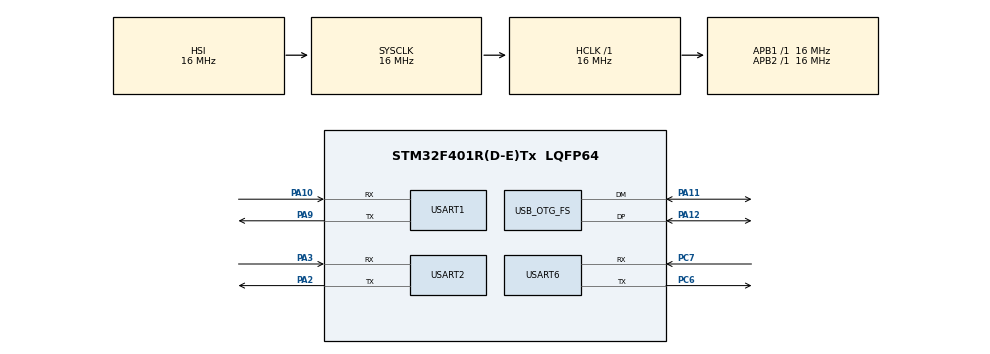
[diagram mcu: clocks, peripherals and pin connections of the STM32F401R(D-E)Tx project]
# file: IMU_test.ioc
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Dma.Request0=USART6_RX
Dma.Request1=USART6_TX
Dma.Request2=USART2_RX
Dma.Request3=USART2_TX
Dma.Request4=USART1_RX
Dma.Request5=USART1_TX
Dma.USART1_RX.4.Direction=DMA_PERIPH_TO_MEMORY
Dma.USART1_RX.4.FIFOMode=DMA_FIFOMODE_DISABLE
Dma.USART1_RX.4.Instance=DMA2_Stream5
Dma.USART1_RX.4.MemDataAlignment=DMA_MDATAALIGN_BYTE
Dma.USART1_RX.4.MemInc=DMA_MINC_ENABLE
Dma.USART1_RX.4.Mode=DMA_CIRCULAR
Dma.USART1_RX.4.PeriphDataAlignment=DMA_PDATAALIGN_BYTE
Dma.USART1_RX.4.PeriphInc=DMA_PINC_DISABLE
Dma.USART1_RX.4.Priority=DMA_PRIORITY_LOW
Dma.USART1_TX.5.Direction=DMA_MEMORY_TO_PERIPH
Dma.USART1_TX.5.FIFOMode=DMA_FIFOMODE_DISABLE
Dma.USART1_TX.5.Instance=DMA2_Stream7
Dma.USART1_TX.5.MemDataAlignment=DMA_MDATAALIGN_BYTE
Dma.USART1_TX.5.MemInc=DMA_MINC_ENABLE
Dma.USART1_TX.5.Mode=DMA_CIRCULAR
Dma.USART1_TX.5.PeriphDataAlignment=DMA_PDATAALIGN_BYTE
Dma.USART1_TX.5.PeriphInc=DMA_PINC_DISABLE
Dma.USART1_TX.5.Priority=DMA_PRIORITY_LOW
Dma.USART2_RX.2.Direction=DMA_PERIPH_TO_MEMORY
Dma.USART2_RX.2.FIFOMode=DMA_FIFOMODE_DISABLE
Dma.USART2_RX.2.Instance=DMA1_Stream5
Dma.USART2_RX.2.MemDataAlignment=DMA_MDATAALIGN_BYTE
Dma.USART2_RX.2.MemInc=DMA_MINC_ENABLE
Dma.USART2_RX.2.Mode=DMA_CIRCULAR
Dma.USART2_RX.2.PeriphDataAlignment=DMA_PDATAALIGN_BYTE
Dma.USART2_RX.2.PeriphInc=DMA_PINC_DISABLE
Dma.USART2_RX.2.Priority=DMA_PRIORITY_LOW
Dma.USART2_TX.3.Direction=DMA_MEMORY_TO_PERIPH
Dma.USART2_TX.3.FIFOMode=DMA_FIFOMODE_DISABLE
Dma.USART2_TX.3.Instance=DMA1_Stream6
Dma.USART2_TX.3.MemDataAlignment=DMA_MDATAALIGN_BYTE
Dma.USART2_TX.3.MemInc=DMA_MINC_ENABLE
Dma.USART2_TX.3.Mode=DMA_CIRCULAR
Dma.USART2_TX.3.PeriphDataAlignment=DMA_PDATAALIGN_BYTE
Dma.USART2_TX.3.PeriphInc=DMA_PINC_DISABLE
Dma.USART2_TX.3.Priority=DMA_PRIORITY_LOW
Dma.USART6_RX.0.Direction=DMA_PERIPH_TO_MEMORY
Dma.USART6_RX.0.FIFOMode=DMA_FIFOMODE_DISABLE
Dma.USART6_RX.0.Instance=DMA2_Stream2
Dma.USART6_RX.0.MemDataAlignment=DMA_MDATAALIGN_BYTE
Dma.USART6_RX.0.MemInc=DMA_MINC_ENABLE
Dma.USART6_RX.0.Mode=DMA_CIRCULAR
Dma.USART6_RX.0.PeriphDataAlignment=DMA_PDATAALIGN_BYTE
Dma.USART6_RX.0.PeriphInc=DMA_PINC_DISABLE
Dma.USART6_RX.0.Priority=DMA_PRIORITY_LOW
Dma.USART6_TX.1.Direction=DMA_MEMORY_TO_PERIPH
Dma.USART6_TX.1.FIFOMode=DMA_FIFOMODE_DISABLE
Dma.USART6_TX.1.Instance=DMA2_Stream6
Dma.USART6_TX.1.MemDataAlignment=DMA_MDATAALIGN_BYTE
Dma.USART6_TX.1.MemInc=DMA_MINC_ENABLE
Dma.USART6_TX.1.Mode=DMA_CIRCULAR
Dma.USART6_TX.1.PeriphDataAlignment=DMA_PDATAALIGN_BYTE
Dma.USART6_TX.1.PeriphInc=DMA_PINC_DISABLE
Dma.USART6_TX.1.Priority=DMA_PRIORITY_LOW
Mcu.Family=STM32F4
Mcu.Name=STM32F401R(D-E)Tx
Mcu.Package=LQFP64
NVIC.DMA1_Stream5_IRQn=true\:0\:0\:false\:false\:true\:false\:true\:true
NVIC.DMA1_Stream6_IRQn=true\:0\:0\:false\:false\:true\:false\:true\:true
NVIC.DMA2_Stream2_IRQn=true\:0\:0\:false\:false\:true\:false\:true\:true
NVIC.DMA2_Stream5_IRQn=true\:0\:0\:false\:false\:true\:false\:true\:true
NVIC.DMA2_Stream6_IRQn=true\:0\:0\:false\:false\:true\:false\:true\:true
NVIC.DMA2_Stream7_IRQn=true\:0\:0\:false\:false\:true\:false\:true\:true
NVIC.OTG_FS_IRQn=true\:0\:0\:false\:true\:true\:1\:true\:true\:true
NVIC.PriorityGroup=NVIC_PRIORITYGROUP_4
NVIC.USART1_IRQn=true\:0\:0\:false\:true\:true\:2\:true\:true\:true
NVIC.USART2_IRQn=true\:0\:0\:false\:true\:true\:3\:true\:true\:true
PA10.Mode=Asynchronous
PA10.Signal=USART1_RX
PA11.Mode=Device_Only
PA11.Signal=USB_OTG_FS_DM
PA12.Mode=Device_Only
PA12.Signal=USB_OTG_FS_DP
PA2.Mode=Asynchronous
PA2.Signal=USART2_TX
PA3.Mode=Asynchronous
PA3.Signal=USART2_RX
PA9.Mode=Asynchronous
PA9.Signal=USART1_TX
PC6.Mode=Asynchronous
PC6.Signal=USART6_TX
PC7.Mode=Asynchronous
PC7.Signal=USART6_RX
ProjectManager.HeapSize=0x200
ProjectManager.StackSize=0x400
ProjectManager.TargetToolchain=STM32CubeIDE
RCC.48MHZClocksFreq_Value=48000000
RCC.AHBFreq_Value=16000000
RCC.APB1Freq_Value=16000000
RCC.APB2Freq_Value=16000000
RCC.CortexFreq_Value=16000000
RCC.HSE_VALUE=25000000
RCC.HSI_VALUE=16000000
RCC.LSE_VALUE=32768
RCC.PLLSource=RCC_PLLSOURCE_HSI
RCC.SYSCLKFreq_VALUE=16000000
RCC.VCOOutputFreq_Value=192000000
TIM9.Period=99
TIM9.Prescaler=8399
USART1.VirtualMode=VM_ASYNC
USART2.VirtualMode=VM_ASYNC
USART6.VirtualMode=VM_ASYNC
USB_DEVICE.CLASS_NAME_FS=CDC
USB_DEVICE.VirtualMode-CDC_FS=Cdc
USB_DEVICE.VirtualModeFS=Cdc_FS
USB_OTG_FS.VirtualMode=Device_Only
VP_TIM9_VS_ClockSourceINT.Mode=Internal
VP_USB_DEVICE_VS_USB_DEVICE_CDC_FS.Mode=CDC_FS
board=custom

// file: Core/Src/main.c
/* USER CODE BEGIN Header */
/**
  ******************************************************************************
  * @file           : main.c
  * @brief          : Main program body
  ******************************************************************************
  * @attention
  *
  * Copyright (c) 2024 STMicroelectronics.
  * All rights reserved.
  *
  * This software is licensed under terms that can be found in the LICENSE file
  * in the root directory of this software component.
  * If no LICENSE file comes with this software, it is provided AS-IS.
  *
  ******************************************************************************
  */
#include "usbd_cdc_if.h"
/* USER CODE END Header */
#include "main.h"
#include "usb_device.h"

/* USER CODE BEGIN PTD */
unsigned char IMU1array[50] = {0};
unsigned char IMU2array[50] = {0};
unsigned char IMU3array[50] = {0};
char *pos1 = NULL;
char *pos2 = NULL;
double roll1 = 0.0, pitch1 = 0.0, yaw1 = 0.0;
double gyro_x1 = 0.0, gyro_y1 = 0.0, gyro_z1 = 0.0;
double accel_x1 = 0.0, accel_y1 = 0.0, accel_z1 = 0.0;

double roll2 = 0.0, pitch2 = 0.0, yaw2 = 0.0;
double gyro_x2 = 0.0, gyro_y2 = 0.0, gyro_z2 = 0.0;
double accel_x2 = 0.0, accel_y2 = 0.0, accel_z2 = 0.0;

double roll3 = 0.0, pitch3 = 0.0, yaw3 = 0.0;
char alpha1[10] = {0}, beta1[10] = {0}, gamm1[10] = {0};
char gyro_x1_str[10] = {0}, gyro_y1_str[10] = {0}, gyro_z1_str[10] = {0};
char accel_x1_str[10] = {0}, accel_y1_str[10] = {0}, accel_z1_str[10] = {0};

char alpha2[10] = {0}, beta2[10] = {0}, gamm2[10] = {0};
char gyro_x2_str[10] = {0}, gyro_y2_str[10] = {0}, gyro_z2_str[10] = {0};
char accel_x2_str[10] = {0}, accel_y2_str[10] = {0}, accel_z2_str[10] = {0};

uint8_t data_buffer[146];
/* USER CODE END PTD */

TIM_HandleTypeDef htim9;

UART_HandleTypeDef huart1;
UART_HandleTypeDef huart2;
UART_HandleTypeDef huart6;
DMA_HandleTypeDef hdma_usart1_rx;
DMA_HandleTypeDef hdma_usart1_tx;
DMA_HandleTypeDef hdma_usart2_rx;
DMA_HandleTypeDef hdma_usart2_tx;
DMA_HandleTypeDef hdma_usart6_rx;
DMA_HandleTypeDef hdma_usart6_tx;

void SystemClock_Config(void);
static void MX_GPIO_Init(void);
static void MX_DMA_Init(void);
static void MX_TIM9_Init(void);
static void MX_USART1_UART_Init(void);
static void MX_USART6_UART_Init(void);
static void MX_USART2_UART_Init(void);
static void MX_NVIC_Init(void);

/* USER CODE BEGIN 0 */
void get_IMU1();
void get_IMU2();
/* USER CODE END 0 */

int main(void)
{

  /* MCU Configuration--------------------------------------------------------*/

  /* Reset of all peripherals, Initializes the Flash interface and the Systick. */
  HAL_Init();

  /* Configure the system clock */
  SystemClock_Config();

  /* Initialize all configured peripherals */
  MX_GPIO_Init();
  MX_DMA_Init();
  MX_TIM9_Init();
  MX_USART1_UART_Init();
  MX_USB_DEVICE_Init();
  MX_USART6_UART_Init();
  MX_USART2_UART_Init();

  /* Initialize interrupts */
  MX_NVIC_Init();

  /* Infinite loop */
  /* USER CODE BEGIN WHILE */
  while (1)
  {
      get_IMU1(); // IMU 데이터를 업데이트
      get_IMU2();

      // Roll, Pitch, Yaw 데이터를 전송 버퍼에 넣기
      data_buffer[0] = 0xAA;
      memcpy(data_buffer + 1, &roll1, sizeof(roll1));
      memcpy(data_buffer + 9, &pitch1, sizeof(pitch1));
      memcpy(data_buffer + 17, &yaw1, sizeof(yaw1));
      memcpy(data_buffer + 25, &gyro_x1, sizeof(gyro_x1));
      memcpy(data_buffer + 33, &gyro_y1, sizeof(gyro_y1));
      memcpy(data_buffer + 41, &gyro_z1, sizeof(gyro_z1));
      memcpy(data_buffer + 49, &accel_x1, sizeof(accel_x1));
      memcpy(data_buffer + 57, &accel_y1, sizeof(accel_y1));
      memcpy(data_buffer + 65, &accel_z1, sizeof(accel_z1));

      memcpy(data_buffer + 73, &roll2, sizeof(roll2));
      memcpy(data_buffer + 81, &pitch2, sizeof(pitch2));
      memcpy(data_buffer + 89, &yaw2, sizeof(yaw2));
      memcpy(data_buffer + 97, &gyro_x2, sizeof(gyro_x2));
      memcpy(data_buffer + 105, &gyro_y2, sizeof(gyro_y2));
      memcpy(data_buffer + 113, &gyro_z2, sizeof(gyro_z2));
      memcpy(data_buffer + 121, &accel_x2, sizeof(accel_x2));
      memcpy(data_buffer + 129, &accel_y2, sizeof(accel_y2));
      memcpy(data_buffer + 137, &accel_z2, sizeof(accel_z2));

      data_buffer[145] = 0xBB;

      // USB CDC를 통해 데이터 전송
      if (CDC_Transmit_FS(data_buffer, sizeof(data_buffer)) == USBD_OK) {
         HAL_Delay(500); // 100ms 대기 (전송 주기)
      } else {
         HAL_Delay(10); // 실패 시 잠시 대기 후 재시도
      }
    /* USER CODE END WHILE */

  }
}

void SystemClock_Config(void)
{
  RCC_OscInitTypeDef RCC_OscInitStruct = {0};
  RCC_ClkInitTypeDef RCC_ClkInitStruct = {0};

  /** Configure the main internal regulator output voltage
  */
  __HAL_RCC_PWR_CLK_ENABLE();
  __HAL_PWR_VOLTAGESCALING_CONFIG(PWR_REGULATOR_VOLTAGE_SCALE2);

  /** Initializes the RCC Oscillators according to the specified parameters
  * in the RCC_OscInitTypeDef structure.
  */
  RCC_OscInitStruct.OscillatorType = RCC_OSCILLATORTYPE_HSI;
  RCC_OscInitStruct.HSIState = RCC_HSI_ON;
  RCC_OscInitStruct.HSICalibrationValue = RCC_HSICALIBRATION_DEFAULT;
  RCC_OscInitStruct.PLL.PLLState = RCC_PLL_ON;
  RCC_OscInitStruct.PLL.PLLSource = RCC_PLLSOURCE_HSI;
  RCC_OscInitStruct.PLL.PLLM = 16;
  RCC_OscInitStruct.PLL.PLLN = 192;
  RCC_OscInitStruct.PLL.PLLP = RCC_PLLP_DIV2;
  RCC_OscInitStruct.PLL.PLLQ = 4;
  if (HAL_RCC_OscConfig(&RCC_OscInitStruct) != HAL_OK)
  {
    Error_Handler();
  }

  /** Initializes the CPU, AHB and APB buses clocks
  */
  RCC_ClkInitStruct.ClockType = RCC_CLOCKTYPE_HCLK|RCC_CLOCKTYPE_SYSCLK
                              |RCC_CLOCKTYPE_PCLK1|RCC_CLOCKTYPE_PCLK2;
  RCC_ClkInitStruct.SYSCLKSource = RCC_SYSCLKSOURCE_HSI;
  RCC_ClkInitStruct.AHBCLKDivider = RCC_SYSCLK_DIV1;
  RCC_ClkInitStruct.APB1CLKDivider = RCC_HCLK_DIV1;
  RCC_ClkInitStruct.APB2CLKDivider = RCC_HCLK_DIV1;

  if (HAL_RCC_ClockConfig(&RCC_ClkInitStruct, FLASH_LATENCY_0) != HAL_OK)
  {
    Error_Handler();
  }
}

/**
  * @brief NVIC Configuration.
  * @retval None
  */
static void MX_NVIC_Init(void)
{
  /* OTG_FS_IRQn interrupt configuration */
  HAL_NVIC_SetPriority(OTG_FS_IRQn, 0, 0);
  HAL_NVIC_EnableIRQ(OTG_FS_IRQn);
  /* USART1_IRQn interrupt configuration */
  HAL_NVIC_SetPriority(USART1_IRQn, 0, 0);
  HAL_NVIC_EnableIRQ(USART1_IRQn);
  /* USART2_IRQn interrupt configuration */
  HAL_NVIC_SetPriority(USART2_IRQn, 0, 0);
  HAL_NVIC_EnableIRQ(USART2_IRQn);
}

static void MX_TIM9_Init(void)
{

  TIM_ClockConfigTypeDef sClockSourceConfig = {0};

  htim9.Instance = TIM9;
  htim9.Init.Prescaler = 8399;
  htim9.Init.CounterMode = TIM_COUNTERMODE_UP;
  htim9.Init.Period = 99;
  htim9.Init.ClockDivision = TIM_CLOCKDIVISION_DIV1;
  htim9.Init.AutoReloadPreload = TIM_AUTORELOAD_PRELOAD_DISABLE;
  if (HAL_TIM_Base_Init(&htim9) != HAL_OK)
  {
    Error_Handler();
  }
  sClockSourceConfig.ClockSource = TIM_CLOCKSOURCE_INTERNAL;
  if (HAL_TIM_ConfigClockSource(&htim9, &sClockSourceConfig) != HAL_OK)
  {
    Error_Handler();
  }

}

static void MX_USART1_UART_Init(void)
{

  huart1.Instance = USART1;
  huart1.Init.BaudRate = 115200;
  huart1.Init.WordLength = UART_WORDLENGTH_8B;
  huart1.Init.StopBits = UART_STOPBITS_1;
  huart1.Init.Parity = UART_PARITY_NONE;
  huart1.Init.Mode = UART_MODE_TX_RX;
  huart1.Init.HwFlowCtl = UART_HWCONTROL_NONE;
  huart1.Init.OverSampling = UART_OVERSAMPLING_16;
  if (HAL_UART_Init(&huart1) != HAL_OK)
  {
    Error_Handler();
  }

}

static void MX_USART2_UART_Init(void)
{

  huart2.Instance = USART2;
  huart2.Init.BaudRate = 115200;
  huart2.Init.WordLength = UART_WORDLENGTH_8B;
  huart2.Init.StopBits = UART_STOPBITS_1;
  huart2.Init.Parity = UART_PARITY_NONE;
  huart2.Init.Mode = UART_MODE_TX_RX;
  huart2.Init.HwFlowCtl = UART_HWCONTROL_NONE;
  huart2.Init.OverSampling = UART_OVERSAMPLING_16;
  if (HAL_UART_Init(&huart2) != HAL_OK)
  {
    Error_Handler();
  }

}

static void MX_USART6_UART_Init(void)
{

  huart6.Instance = USART6;
  huart6.Init.BaudRate = 115200;
  huart6.Init.WordLength = UART_WORDLENGTH_8B;
  huart6.Init.StopBits = UART_STOPBITS_1;
  huart6.Init.Parity = UART_PARITY_NONE;
  huart6.Init.Mode = UART_MODE_TX_RX;
  huart6.Init.HwFlowCtl = UART_HWCONTROL_NONE;
  huart6.Init.OverSampling = UART_OVERSAMPLING_16;
  if (HAL_UART_Init(&huart6) != HAL_OK)
  {
    Error_Handler();
  }

}

static void MX_DMA_Init(void)
{

  /* DMA controller clock enable */
  __HAL_RCC_DMA2_CLK_ENABLE();
  __HAL_RCC_DMA1_CLK_ENABLE();

  /* DMA interrupt init */
  /* DMA1_Stream5_IRQn interrupt configuration */
  HAL_NVIC_SetPriority(DMA1_Stream5_IRQn, 0, 0);
  HAL_NVIC_EnableIRQ(DMA1_Stream5_IRQn);
  /* DMA1_Stream6_IRQn interrupt configuration */
  HAL_NVIC_SetPriority(DMA1_Stream6_IRQn, 0, 0);
  HAL_NVIC_EnableIRQ(DMA1_Stream6_IRQn);
  /* DMA2_Stream2_IRQn interrupt configuration */
  HAL_NVIC_SetPriority(DMA2_Stream2_IRQn, 0, 0);
  HAL_NVIC_EnableIRQ(DMA2_Stream2_IRQn);
  /* DMA2_Stream5_IRQn interrupt configuration */
  HAL_NVIC_SetPriority(DMA2_Stream5_IRQn, 0, 0);
  HAL_NVIC_EnableIRQ(DMA2_Stream5_IRQn);
  /* DMA2_Stream6_IRQn interrupt configuration */
  HAL_NVIC_SetPriority(DMA2_Stream6_IRQn, 0, 0);
  HAL_NVIC_EnableIRQ(DMA2_Stream6_IRQn);
  /* DMA2_Stream7_IRQn interrupt configuration */
  HAL_NVIC_SetPriority(DMA2_Stream7_IRQn, 0, 0);
  HAL_NVIC_EnableIRQ(DMA2_Stream7_IRQn);

}

static void MX_GPIO_Init(void)
{

  /* GPIO Ports Clock Enable */
  __HAL_RCC_GPIOA_CLK_ENABLE();
  __HAL_RCC_GPIOC_CLK_ENABLE();

}

/* USER CODE BEGIN 4 */
void get_IMU1()
{
    HAL_UART_Receive_DMA(&huart1, IMU1array, 50);  // 수신 데이터 크기 확장
    int cnt0 = 0, pos = 0;
    for (int i = 0; i < 50; i++) {
        if (IMU1array[i] == ',') {
            switch (cnt0++) {
                case 0: strncpy(alpha1, (char *)IMU1array + pos, i - pos); alpha1[i - pos] = '\0'; break;
                case 1: strncpy(beta1, (char *)IMU1array + pos, i - pos); beta1[i - pos] = '\0'; break;
                case 2: strncpy(gamm1, (char *)IMU1array + pos, i - pos); gamm1[i - pos] = '\0'; break;
                case 3: strncpy(gyro_x1_str, (char *)IMU1array + pos, i - pos); gyro_x1_str[i - pos] = '\0'; break;
                case 4: strncpy(gyro_y1_str, (char *)IMU1array + pos, i - pos); gyro_y1_str[i - pos] = '\0'; break;
                case 5: strncpy(gyro_z1_str, (char *)IMU1array + pos, i - pos); gyro_z1_str[i - pos] = '\0'; break;
                case 6: strncpy(accel_x1_str, (char *)IMU1array + pos, i - pos); accel_x1_str[i - pos] = '\0'; break;
                case 7: strncpy(accel_y1_str, (char *)IMU1array + pos, i - pos); accel_y1_str[i - pos] = '\0'; break;
                case 8: strncpy(accel_z1_str, (char *)IMU1array + pos, i - pos); accel_z1_str[i - pos] = '\0'; break;
            }
            pos = i + 1;
        }
    }
    roll1 = strtod(alpha1, NULL);
    pitch1 = strtod(beta1, NULL);
    yaw1 = strtod(gamm1, NULL);
    gyro_x1 = strtod(gyro_x1_str, NULL);
    gyro_y1 = strtod(gyro_y1_str, NULL);
    gyro_z1 = strtod(gyro_z1_str, NULL);
    accel_x1 = strtod(accel_x1_str, NULL);
    accel_y1 = strtod(accel_y1_str, NULL);
    accel_z1 = strtod(accel_z1_str, NULL);
}

void get_IMU2()
{
    HAL_UART_Receive_DMA(&huart6, IMU2array, 50);
    int cnt0 = 0, pos = 0;
    for (int i = 0; i < 50; i++) {
        if (IMU2array[i] == ',') {
            switch (cnt0++) {
                case 0: strncpy(alpha2, (char *)IMU2array + pos, i - pos); alpha2[i - pos] = '\0'; break;
                case 1: strncpy(beta2, (char *)IMU2array + pos, i - pos); beta2[i - pos] = '\0'; break;
                case 2: strncpy(gamm2, (char *)IMU2array + pos, i - pos); gamm2[i - pos] = '\0'; break;
                case 3: strncpy(gyro_x2_str, (char *)IMU2array + pos, i - pos); gyro_x2_str[i - pos] = '\0'; break;
                case 4: strncpy(gyro_y2_str, (char *)IMU2array + pos, i - pos); gyro_y2_str[i - pos] = '\0'; break;
                case 5: strncpy(gyro_z2_str, (char *)(char *)IMU2array + pos, i - pos); gyro_z2_str[i - pos] = '\0'; break;
                case 6: strncpy(accel_x2_str, (char *)IMU2array + pos, i - pos); accel_x2_str[i - pos] = '\0'; break;
                case 7: strncpy(accel_y2_str, (char *)IMU2array + pos, i - pos); accel_y2_str[i - pos] = '\0'; break;
                case 8: strncpy(accel_z2_str, (char *)IMU2array + pos, i - pos); accel_z2_str[i - pos] = '\0'; break;
            }
            pos = i + 1;
        }
    }
    roll2 = strtod(alpha2, NULL);
    pitch2 = strtod(beta2, NULL);
    yaw2 = strtod(gamm2, NULL);
    gyro_x2 = strtod(gyro_x2_str, NULL);
    gyro_y2 = strtod(gyro_y2_str, NULL);
    gyro_z2 = strtod(gyro_z2_str, NULL);
    accel_x2 = strtod(accel_x2_str, NULL);
    accel_y2 = strtod(accel_y2_str, NULL);
    accel_z2 = strtod(accel_z2_str, NULL);
}
/*void get_IMU1(double *roll1, double *pitch1, double *yaw1){
	int cnt0 = 0, cnt1 = 0, cnt2 = 0, cnt3 = 0, cnt4 = 0;
	HAL_UART_Receive_DMA(&huart1, &IMU1array[0], 31);
    for(int i = 1; i < 31; i++){
      if(IMU1array[i] == ','){
         if(cnt0 == 0){
            cnt1 = i + 1;
         }
         else if (cnt0 == 1){
            cnt2 = i + 1;
         }
         cnt0++;
      }
      else{
         switch (cnt0){
         case 0:{
            alpha1[i - 1] = IMU1array[i];
            break;
         }
         case 1:{
            beta1[i - cnt1] = IMU1array[i];
            break;
         }
         case 2:{
            gamm1[i - cnt2] = IMU1array[i];
            break;
         }
         }
      }
      if(IMU1array[i] == '\r'){
         cnt3 = i + 1;
         break;
      }
   }
   for (int j = cnt1 - 2; j < 7; j++){
      alpha1[j] = '0';
   }
   for (int k = cnt2 - (cnt1); k < 8; k++){
      beta1[k - 1] = '0';
   }
   for (int l = cnt3 - (cnt2); l < 8; l++){
      gamm1[l - 1] = '0';
   }
   cnt0 = 0;

   *roll1 = strtod(alpha1, &pos1);
   *pitch1 = strtod(beta1, &pos1);
   *yaw1 = strtod(gamm1, &pos1);
}

void get_IMU2(double *roll2, double *pitch2, double *yaw2){
	int cnt0 = 0, cnt1 = 0, cnt2 = 0, cnt3 = 0, cnt4 = 0;
   HAL_UART_Receive_DMA(&huart2, &IMU2array[0], 31);
   for(int i = 1; i < 31; i++){
      if(IMU2array[i] == ','){
         if(cnt0 == 0){
            cnt1 = i + 1;
         }
         else if (cnt0 == 1){
            cnt2 = i + 1;
         }
         cnt0++;
      }
      else{
         switch (cnt0){
         case 0:{
            alpha2[i - 1] = IMU2array[i];
            break;
         }
         case 1:{
            beta2[i - cnt1] = IMU2array[i];
            break;
         }
         case 2:{
            gamm2[i - cnt2] = IMU2array[i];
            break;
         }
         }
      }
      if(IMU2array[i] == '\r'){
         cnt3 = i + 1;
         break;
      }
   }
   for (int j = cnt1 - 2; j < 7; j++){
      alpha2[j] = '0';
   }
   for (int k = cnt2 - (cnt1); k < 8; k++){
      beta2[k - 1] = '0';
   }
   for (int l = cnt3 - (cnt2); l < 8; l++){
      gamm2[l - 1] = '0';
   }
   cnt0 = 0;

   *roll2 = strtod(alpha2, &pos2);
   *pitch2 = strtod(beta2, &pos2);
   *yaw2 = strtod(gamm2, &pos2);
}
*/
/* USER CODE END 4 */

void Error_Handler(void)
{
  __disable_irq();
  while (1)
  {
  }
}
